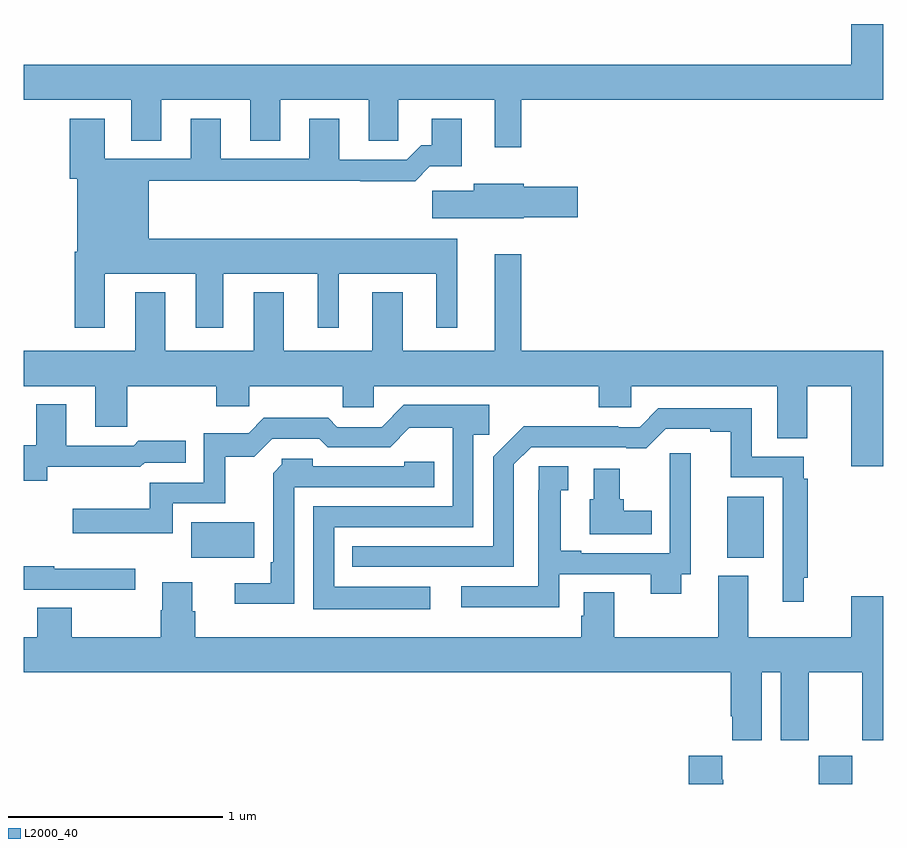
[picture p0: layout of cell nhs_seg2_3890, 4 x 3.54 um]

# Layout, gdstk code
import gdstk
lib = gdstk.Library(unit=1e-6, precision=1e-09)
def R(c, l, rs):  # rectangles x0, y0, x1, y1
    for r in rs: c.add(gdstk.rectangle(r[:2], r[2:], *l))
def P(c, l, *ps):  # polygons
    for p in ps: c.add(gdstk.Polygon(p, *l))
L2000_40 = (2000, 40)

nhs_seg2_3890 = lib.new_cell('nhs_seg2_3890')
R(nhs_seg2_3890, L2000_40, [(320.701,629.8,320.856,629.932), (317.779,630.854,318.072,631.018), (320.273,630.854,320.443,631.138)])
P(nhs_seg2_3890, L2000_40, [(319.315,632.984),(321,632.984),(321,633.337),(320.852,633.337),(320.852,633.148),(317,633.148),(317,632.984),(317.501,632.984),(317.501,632.794),(317.641,632.794),(317.641,632.984),(318.053,632.984),(318.053,632.794),(318.193,632.794),(318.193,632.984),(318.605,632.984),(318.605,632.794),(318.744,632.794),(318.744,632.984),(319.193,632.984),(319.193,632.763),(319.315,632.763)],
  [(317.377,632.174),(317.801,632.174),(317.801,631.923),(317.929,631.923),(317.929,632.174),(318.368,632.174),(318.368,631.923),(318.466,631.923),(318.466,632.174),(318.92,632.174),(318.92,631.923),(319.018,631.923),(319.018,632.338),(317.581,632.338),(317.581,632.608),(318.565,632.608),(318.565,632.606),(318.821,632.606),(318.89,632.675),(319.039,632.675),(319.039,632.896),(318.899,632.896),(318.899,632.773),(318.85,632.773),(318.783,632.706),(318.469,632.706),(318.469,632.896),(318.329,632.896),(318.329,632.709),(317.917,632.709),(317.917,632.896),(317.777,632.896),(317.777,632.709),(317.377,632.709),(317.377,632.896),(317.213,632.896),(317.213,632.616),(317.249,632.616),(317.249,632.278),(317.237,632.278),(317.237,631.923),(317.377,631.923)],
  [(319.326,632.438),(319.579,632.438),(319.579,632.58),(319.326,632.58),(319.326,632.593),(319.094,632.593),(319.094,632.561),(318.9,632.561),(318.9,632.432),(319.326,632.432)],
  [(321,631.816),(319.315,631.816),(319.315,632.266),(319.193,632.266),(319.193,631.816),(318.763,631.816),(318.763,632.089),(318.623,632.089),(318.623,631.816),(318.211,631.816),(318.211,632.089),(318.071,632.089),(318.071,631.816),(317.659,631.816),(317.659,632.089),(317.519,632.089),(317.519,631.816),(317,631.816),(317,631.652),(317.333,631.652),(317.333,631.462),(317.481,631.462),(317.481,631.652),(317.896,631.652),(317.896,631.559),(318.05,631.559),(318.05,631.652),(318.485,631.652),(318.485,631.554),(318.63,631.554),(318.63,631.652),(319.676,631.652),(319.676,631.554),(319.827,631.554),(319.827,631.652),(320.507,631.652),(320.507,631.408),(320.647,631.408),(320.647,631.652),(320.852,631.652),(320.852,631.278),(321,631.278)],
  [(317.11,631.277),(317.543,631.277),(317.562,631.296),(317.753,631.296),(317.753,631.397),(317.534,631.397),(317.511,631.374),(317.197,631.374),(317.197,631.567),(317.057,631.567),(317.057,631.377),(317,631.377),(317,631.211),(317.11,631.211)],
  [(318.892,630.718),(318.444,630.718),(318.444,630.996),(319.092,630.996),(319.092,631.426),(319.166,631.426),(319.166,631.564),(318.768,631.564),(318.665,631.461),(318.459,631.461),(318.416,631.504),(318.118,631.504),(318.046,631.432),(317.838,631.432),(317.838,631.203),(317.586,631.203),(317.586,631.081),(317.229,631.081),(317.229,630.968),(317.694,630.968),(317.694,631.107),(317.937,631.107),(317.937,631.323),(318.072,631.323),(318.156,631.407),(318.375,631.407),(318.414,631.368),(318.705,631.368),(318.795,631.458),(318.996,631.458),(318.996,631.092),(318.348,631.092),(318.348,630.614),(318.892,630.614)],
  [(320.631,630.76),(320.648,630.76),(320.648,631.22),(320.631,631.22),(320.631,631.323),(320.388,631.323),(320.388,631.548),(319.953,631.548),(319.866,631.461),(319.766,631.461),(319.766,631.466),(319.326,631.466),(319.185,631.324),(319.185,630.906),(318.529,630.906),(318.529,630.81),(319.281,630.81),(319.281,631.287),(319.362,631.368),(319.805,631.368),(319.805,631.363),(319.897,631.363),(319.988,631.454),(320.195,631.454),(320.195,631.44),(320.291,631.44),(320.291,631.227),(320.532,631.227),(320.532,630.648),(320.631,630.648)],
  [(319.491,630.777),(319.919,630.777),(319.919,630.686),(320.059,630.686),(320.059,630.777),(320.104,630.777),(320.104,631.339),(320.006,631.339),(320.006,631.098),(320.007,631.098),(320.007,630.873),(319.594,630.873),(319.594,630.886),(319.498,630.886),(319.498,631.166),(319.534,631.166),(319.534,631.279),(319.396,631.279),(319.396,631.166),(319.394,631.166),(319.394,630.72),(319.035,630.72),(319.035,630.623),(319.491,630.623)],
  [(318.258,631.182),(318.911,631.182),(318.911,631.299),(318.771,631.299),(318.771,631.278),(318.344,631.278),(318.344,631.314),(318.201,631.314),(318.201,631.288),(318.16,631.247),(318.16,631.148),(318.162,631.148),(318.162,630.832),(318.15,630.832),(318.15,630.735),(317.982,630.735),(317.982,630.638),(318.258,630.638)],
  [(319.922,631.072),(319.792,631.072),(319.792,631.125),(319.774,631.125),(319.774,631.267),(319.652,631.267),(319.652,631.125),(319.634,631.125),(319.634,630.963),(319.922,630.963)],
  [(317.518,630.802),(317.141,630.802),(317.141,630.814),(317,630.814),(317,630.705),(317.518,630.705)],
  [(320.434,630.32),(320.522,630.32),(320.522,630.003),(320.653,630.003),(320.653,630.32),(320.903,630.32),(320.903,630.003),(321,630.003),(321,630.673),(320.852,630.673),(320.852,630.484),(320.371,630.484),(320.371,630.769),(320.231,630.769),(320.231,630.484),(319.747,630.484),(319.747,630.692),(319.607,630.692),(319.607,630.582),(319.595,630.582),(319.595,630.484),(317.798,630.484),(317.798,630.603),(317.785,630.603),(317.785,630.739),(317.645,630.739),(317.645,630.608),(317.638,630.608),(317.638,630.484),(317.223,630.484),(317.223,630.62),(317.063,630.62),(317.063,630.484),(317,630.484),(317,630.32),(320.291,630.32),(320.291,630.115),(320.297,630.115),(320.297,630.003),(320.434,630.003)],
  [(320.256,629.819),(320.251,629.819),(320.251,629.932),(320.096,629.932),(320.096,629.8),(320.256,629.8)])

lib.write_gds('nhs_seg2_3890.gds')
